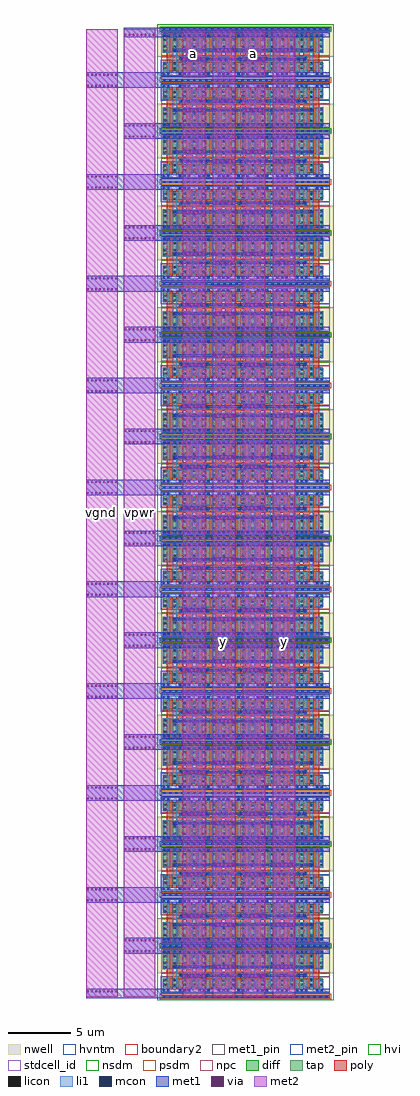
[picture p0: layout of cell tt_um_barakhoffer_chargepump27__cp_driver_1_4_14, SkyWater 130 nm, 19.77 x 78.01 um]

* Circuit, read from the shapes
.subckt tt_um_barakhoffer_chargepump27__cp_driver_1_4_14 a vgnd vpwr y
XM1 y tt_um_barakhoffer_chargepump27__sky130_fd_sc_hvl__inv_16_0/a vgnd vgnd sky130_fd_pr__nfet_g5v0d10v5 w=0.75 l=0.5 m=224
XM2 tt_um_barakhoffer_chargepump27__sky130_fd_sc_hvl__inv_16_0/a tt_um_barakhoffer_chargepump27__sky130_fd_sc_hvl__inv_16_16/a vgnd vgnd sky130_fd_pr__nfet_g5v0d10v5 w=0.75 l=0.5 m=64
XM3 tt_um_barakhoffer_chargepump27__sky130_fd_sc_hvl__inv_16_16/a a vgnd vgnd sky130_fd_pr__nfet_g5v0d10v5 w=0.75 l=0.5 m=16
XM4 y tt_um_barakhoffer_chargepump27__sky130_fd_sc_hvl__inv_16_0/a vpwr vpwr sky130_fd_pr__pfet_g5v0d10v5 w=1.5 l=0.5 m=224
XM5 tt_um_barakhoffer_chargepump27__sky130_fd_sc_hvl__inv_16_0/a tt_um_barakhoffer_chargepump27__sky130_fd_sc_hvl__inv_16_16/a vpwr vpwr sky130_fd_pr__pfet_g5v0d10v5 w=1.5 l=0.5 m=64
XM6 tt_um_barakhoffer_chargepump27__sky130_fd_sc_hvl__inv_16_16/a a vpwr vpwr sky130_fd_pr__pfet_g5v0d10v5 w=1.5 l=0.5 m=16
.ends

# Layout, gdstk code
import gdstk
lib = gdstk.Library(unit=1e-6, precision=1e-09)
def R(c, l, rs):  # rectangles x0, y0, x1, y1
    for r in rs: c.add(gdstk.rectangle(r[:2], r[2:], *l))
def A(c, l, x, y, w, h, nx, ny, dx, dy):  # array of equal rectangles
    R(c, l, [(x+i*dx, y+j*dy, x+i*dx+w, y+j*dy+h) for i in range(nx) for j in range(ny)])
def P(c, l, *ps):  # polygons
    for p in ps: c.add(gdstk.Polygon(p, *l))
nwell = (64, 20)
diff = (65, 20)
tap = (65, 44)
poly = (66, 20)
licon = (66, 44)
li1 = (67, 20)
mcon = (67, 44)
met1_pin = (68, 16)
met1 = (68, 20)
via = (68, 44)
met2_pin = (69, 16)
met2 = (69, 20)
hvi = (75, 20)
stdcell_id = (81, 4)
nsdm = (93, 44)
psdm = (94, 20)
npc = (95, 20)
hvntm = (125, 20)
boundary2 = (236, 0)

tt_um_barakhoffer_charge = lib.new_cell('tt_um_barakhoffer_chargepump27__sky130_fd_sc_hvl__inv_16')
R(tt_um_barakhoffer_charge, nwell, [(-0.33,1.885,13.77,4.485)])
R(tt_um_barakhoffer_charge, diff, [(0.16,0.705,12.895,1.455), (0.165,2.215,12.895,3.715)])
R(tt_um_barakhoffer_charge, tap, [(0,-0.085,13.44,0.085), (0,3.985,13.44,4.155)])
P(tt_um_barakhoffer_charge, poly, [(0.425,0.575),(0.425,2.005),(0.43,2.005),(0.43,3.845),(0.93,3.845),(0.93,2.005),(1.21,2.005),(1.21,3.845),(1.71,3.845),(1.71,2.005),(1.99,2.005),(1.99,3.845),(2.49,3.845),(2.49,2.005),(2.77,2.005),(2.77,3.845),(3.27,3.845),(3.27,2.005),(3.55,2.005),(3.55,3.845),(4.05,3.845),(4.05,2.005),(4.33,2.005),(4.33,3.845),(4.83,3.845),(4.83,2.005),(5.11,2.005),(5.11,3.845),(5.61,3.845),(5.61,2.005),(5.89,2.005),(5.89,3.845),(6.39,3.845),(6.39,2.005),(6.67,2.005),(6.67,3.845),(7.17,3.845),(7.17,2.005),(7.45,2.005),(7.45,3.845),(7.95,3.845),(7.95,2.005),(8.23,2.005),(8.23,3.845),(8.73,3.845),(8.73,2.005),(9.01,2.005),(9.01,3.845),(9.51,3.845),(9.51,2.005),(9.79,2.005),(9.79,3.845),(10.29,3.845),(10.29,2.005),(10.57,2.005),(10.57,3.845),(11.07,3.845),(11.07,2.005),(11.35,2.005),(11.35,3.845),(11.85,3.845),(11.85,2.005),(12.13,2.005),(12.13,3.845),(12.63,3.845),(12.63,2),(12.625,2),(12.625,0.575),(12.125,0.575),(12.125,1.565),(11.845,1.565),(11.845,0.575),(11.345,0.575),(11.345,1.565),(11.065,1.565),(11.065,0.575),(10.565,0.575),(10.565,1.565),(10.285,1.565),(10.285,0.575),(9.785,0.575),(9.785,1.565),(9.505,1.565),(9.505,0.575),(9.005,0.575),(9.005,1.565),(8.725,1.565),(8.725,0.575),(8.225,0.575),(8.225,1.565),(7.945,1.565),(7.945,0.575),(7.445,0.575),(7.445,1.565),(7.165,1.565),(7.165,0.575),(6.665,0.575),(6.665,1.565),(6.385,1.565),(6.385,0.575),(5.885,0.575),(5.885,1.565),(5.605,1.565),(5.605,0.575),(5.105,0.575),(5.105,1.565),(4.825,1.565),(4.825,0.575),(4.325,0.575),(4.325,1.565),(4.045,1.565),(4.045,0.575),(3.545,0.575),(3.545,1.565),(3.265,1.565),(3.265,0.575),(2.765,0.575),(2.765,1.565),(2.485,1.565),(2.485,0.575),(1.985,0.575),(1.985,1.565),(1.705,1.565),(1.705,0.575),(1.205,0.575),(1.205,1.565),(0.925,1.565),(0.925,0.575)])
A(tt_um_barakhoffer_charge, licon, 0.155, -0.085, 0.17, 0.17, 28, 2, 0.48, 4.07)
A(tt_um_barakhoffer_charge, licon, 0.2, 0.86, 0.17, 0.17, 9, 2, 1.56, 0.365)
A(tt_um_barakhoffer_charge, licon, 0.98, 0.875, 0.17, 0.17, 8, 2, 1.56, 0.37)
A(tt_um_barakhoffer_charge, licon, 0.985, 2.255, 0.17, 0.17, 15, 2, 0.78, 0.34)
A(tt_um_barakhoffer_charge, licon, 0.985, 3.165, 0.17, 0.17, 15, 2, 0.78, 0.34)
R(tt_um_barakhoffer_charge, licon, [(1.48,1.645,1.65,1.815), (2.045,1.645,2.215,1.815), (3.04,1.645,3.21,1.815), (3.605,1.645,3.775,1.815), (4.6,1.645,4.77,1.815), (5.165,1.645,5.335,1.815), (6.16,1.645,6.33,1.815), (6.725,1.645,6.895,1.815), (7.72,1.645,7.89,1.815), (8.285,1.645,8.455,1.815), (9.28,1.645,9.45,1.815), (9.845,1.645,10.015,1.815), (10.84,1.645,11.01,1.815), (11.405,1.645,11.575,1.815), (0.205,2.275,0.375,2.445), (12.685,2.275,12.855,2.445), (0.205,2.615,0.375,2.785), (12.685,2.615,12.855,2.785), (0.205,3.145,0.375,3.315), (12.685,3.145,12.855,3.315), (0.205,3.485,0.375,3.655), (12.685,3.485,12.855,3.655)])
A(tt_um_barakhoffer_charge, li1, 1.4, 0.375, 0.89, 1.02, 7, 1, 1.56, 0)
A(tt_um_barakhoffer_charge, li1, 0.9, 0.795, 0.33, 2.96, 8, 1, 1.56, 0)
A(tt_um_barakhoffer_charge, li1, 1.4, 1.565, 0.89, 0.33, 7, 1, 1.56, 0)
A(tt_um_barakhoffer_charge, li1, 1.4, 2.175, 0.89, 1.58, 7, 1, 1.56, 0)
R(tt_um_barakhoffer_charge, li1, [(0,-0.085,13.44,0.085), (0.095,0.375,0.63,1.475), (12.32,0.375,12.935,1.395), (0.125,2.175,0.655,3.755), (12.32,2.175,12.935,3.675), (0,3.985,13.44,4.155)])
A(tt_um_barakhoffer_charge, mcon, 1.4, 0.425, 0.17, 0.17, 3, 2, 0.36, 3.05)
A(tt_um_barakhoffer_charge, mcon, 2.96, 0.425, 0.17, 0.17, 3, 2, 0.36, 3.05)
A(tt_um_barakhoffer_charge, mcon, 4.52, 0.425, 0.17, 0.17, 3, 2, 0.36, 3.05)
A(tt_um_barakhoffer_charge, mcon, 6.08, 0.425, 0.17, 0.17, 3, 2, 0.36, 3.05)
A(tt_um_barakhoffer_charge, mcon, 7.64, 0.425, 0.17, 0.17, 3, 2, 0.36, 3.05)
A(tt_um_barakhoffer_charge, mcon, 9.2, 0.425, 0.17, 0.17, 3, 2, 0.36, 3.05)
A(tt_um_barakhoffer_charge, mcon, 10.76, 0.425, 0.17, 0.17, 3, 2, 0.36, 3.05)
A(tt_um_barakhoffer_charge, mcon, 0.985, 2.32, 0.17, 0.17, 8, 1, 1.56, 0)
R(tt_um_barakhoffer_charge, mcon, [(0.155,-0.085,0.325,0.085), (0.155,-0.085,0.325,0.085), (0.635,-0.085,0.805,0.085), (0.635,-0.085,0.805,0.085), (1.115,-0.085,1.285,0.085), (1.115,-0.085,1.285,0.085), (1.595,-0.085,1.765,0.085), (1.595,-0.085,1.765,0.085), (2.075,-0.085,2.245,0.085), (2.075,-0.085,2.245,0.085), (2.555,-0.085,2.725,0.085), (2.555,-0.085,2.725,0.085), (3.035,-0.085,3.205,0.085), (3.035,-0.085,3.205,0.085), (3.515,-0.085,3.685,0.085), (3.515,-0.085,3.685,0.085), (3.995,-0.085,4.165,0.085), (3.995,-0.085,4.165,0.085), (4.475,-0.085,4.645,0.085), (4.475,-0.085,4.645,0.085), (4.955,-0.085,5.125,0.085), (4.955,-0.085,5.125,0.085), (5.435,-0.085,5.605,0.085), (5.435,-0.085,5.605,0.085), (5.915,-0.085,6.085,0.085), (5.915,-0.085,6.085,0.085), (6.395,-0.085,6.565,0.085), (6.395,-0.085,6.565,0.085), (6.875,-0.085,7.045,0.085), (6.875,-0.085,7.045,0.085), (7.355,-0.085,7.525,0.085), (7.355,-0.085,7.525,0.085), (7.835,-0.085,8.005,0.085), (7.835,-0.085,8.005,0.085), (8.315,-0.085,8.485,0.085), (8.315,-0.085,8.485,0.085), (8.795,-0.085,8.965,0.085), (8.795,-0.085,8.965,0.085), (9.275,-0.085,9.445,0.085), (9.275,-0.085,9.445,0.085), (9.755,-0.085,9.925,0.085), (9.755,-0.085,9.925,0.085), (10.235,-0.085,10.405,0.085), (10.235,-0.085,10.405,0.085), (10.715,-0.085,10.885,0.085), (10.715,-0.085,10.885,0.085), (11.195,-0.085,11.365,0.085), (11.195,-0.085,11.365,0.085), (11.675,-0.085,11.845,0.085), (11.675,-0.085,11.845,0.085), (12.155,-0.085,12.325,0.085), (12.155,-0.085,12.325,0.085), (12.635,-0.085,12.805,0.085), (12.635,-0.085,12.805,0.085), (13.115,-0.085,13.285,0.085), (13.115,-0.085,13.285,0.085), (0.095,0.425,0.265,0.595), (0.455,0.425,0.625,0.595), (12.365,0.425,12.535,0.595), (12.725,0.425,12.895,0.595), (1.595,1.58,1.765,1.75), (1.955,1.58,2.125,1.75), (3.145,1.58,3.315,1.75), (3.505,1.58,3.675,1.75), (4.705,1.58,4.875,1.75), (5.065,1.58,5.235,1.75), (6.265,1.58,6.435,1.75), (6.625,1.58,6.795,1.75), (7.825,1.58,7.995,1.75), (8.185,1.58,8.355,1.75), (9.385,1.58,9.555,1.75), (9.745,1.58,9.915,1.75), (10.945,1.58,11.115,1.75), (11.305,1.58,11.475,1.75), (0.125,3.475,0.295,3.645), (0.485,3.475,0.655,3.645), (12.365,3.475,12.535,3.645), (12.725,3.475,12.895,3.645), (0.155,3.985,0.325,4.155), (0.155,3.985,0.325,4.155), (0.635,3.985,0.805,4.155), (0.635,3.985,0.805,4.155), (1.115,3.985,1.285,4.155), (1.115,3.985,1.285,4.155), (1.595,3.985,1.765,4.155), (1.595,3.985,1.765,4.155), (2.075,3.985,2.245,4.155), (2.075,3.985,2.245,4.155), (2.555,3.985,2.725,4.155), (2.555,3.985,2.725,4.155), (3.035,3.985,3.205,4.155), (3.035,3.985,3.205,4.155), (3.515,3.985,3.685,4.155), (3.515,3.985,3.685,4.155), (3.995,3.985,4.165,4.155), (3.995,3.985,4.165,4.155), (4.475,3.985,4.645,4.155), (4.475,3.985,4.645,4.155), (4.955,3.985,5.125,4.155), (4.955,3.985,5.125,4.155), (5.435,3.985,5.605,4.155), (5.435,3.985,5.605,4.155), (5.915,3.985,6.085,4.155), (5.915,3.985,6.085,4.155), (6.395,3.985,6.565,4.155), (6.395,3.985,6.565,4.155), (6.875,3.985,7.045,4.155), (6.875,3.985,7.045,4.155), (7.355,3.985,7.525,4.155), (7.355,3.985,7.525,4.155), (7.835,3.985,8.005,4.155), (7.835,3.985,8.005,4.155), (8.315,3.985,8.485,4.155), (8.315,3.985,8.485,4.155), (8.795,3.985,8.965,4.155), (8.795,3.985,8.965,4.155), (9.275,3.985,9.445,4.155), (9.275,3.985,9.445,4.155), (9.755,3.985,9.925,4.155), (9.755,3.985,9.925,4.155), (10.235,3.985,10.405,4.155), (10.235,3.985,10.405,4.155), (10.715,3.985,10.885,4.155), (10.715,3.985,10.885,4.155), (11.195,3.985,11.365,4.155), (11.195,3.985,11.365,4.155), (11.675,3.985,11.845,4.155), (11.675,3.985,11.845,4.155), (12.155,3.985,12.325,4.155), (12.155,3.985,12.325,4.155), (12.635,3.985,12.805,4.155), (12.635,3.985,12.805,4.155), (13.115,3.985,13.285,4.155), (13.115,3.985,13.285,4.155)])
R(tt_um_barakhoffer_charge, met1_pin, [(0,0,13.44,0.115), (0,0.255,13.44,0.625), (1.535,1.58,11.535,1.75), (0.925,2.32,12.135,2.49), (0,3.445,13.44,3.815), (0,3.955,13.44,4.07)])
A(tt_um_barakhoffer_charge, met1, 0.925, 2.29, 0.29, 0.23, 8, 1, 1.56, 0)
R(tt_um_barakhoffer_charge, met1, [(0,-0.115,13.44,0.115), (0,0,13.44,0.115), (0,0.255,13.44,0.625), (0,0.255,13.44,0.625), (1.535,1.58,11.535,1.75), (0.925,2.32,12.135,2.49), (0.925,2.32,12.135,2.49), (0,3.445,13.44,3.815), (0,3.445,13.44,3.815), (0,3.955,13.44,4.07), (0,3.955,13.44,4.185)])
P(tt_um_barakhoffer_charge, met1, [(1.535,1.55),(1.535,1.78),(2.185,1.78),(2.185,1.75),(3.085,1.75),(3.085,1.78),(3.735,1.78),(3.735,1.75),(4.645,1.75),(4.645,1.78),(5.295,1.78),(5.295,1.75),(6.205,1.75),(6.205,1.78),(6.855,1.78),(6.855,1.75),(7.765,1.75),(7.765,1.78),(8.415,1.78),(8.415,1.75),(9.325,1.75),(9.325,1.78),(9.975,1.78),(9.975,1.75),(10.885,1.75),(10.885,1.78),(11.535,1.78),(11.535,1.55),(10.885,1.55),(10.885,1.58),(9.975,1.58),(9.975,1.55),(9.325,1.55),(9.325,1.58),(8.415,1.58),(8.415,1.55),(7.765,1.55),(7.765,1.58),(6.855,1.58),(6.855,1.55),(6.205,1.55),(6.205,1.58),(5.295,1.58),(5.295,1.55),(4.645,1.55),(4.645,1.58),(3.735,1.58),(3.735,1.55),(3.085,1.55),(3.085,1.58),(2.185,1.58),(2.185,1.55)])
R(tt_um_barakhoffer_charge, hvi, [(-0.33,-0.265,13.77,4.485)])
R(tt_um_barakhoffer_charge, stdcell_id, [(0,0,13.44,4.07)])
R(tt_um_barakhoffer_charge, nsdm, [(0,0.215,13.44,1.885), (-0.13,3.855,13.57,4.285), (0,3.855,13.44,4.07)])
R(tt_um_barakhoffer_charge, psdm, [(-0.13,-0.215,13.57,0.215)])
P(tt_um_barakhoffer_charge, psdm, [(0,1.885),(0,3.855),(13.44,3.855),(13.44,1.885),(11.685,1.885),(11.685,1.925),(10.73,1.925),(10.73,1.885),(10.125,1.885),(10.125,1.925),(9.17,1.925),(9.17,1.885),(8.565,1.885),(8.565,1.925),(7.61,1.925),(7.61,1.885),(7.005,1.885),(7.005,1.925),(6.05,1.925),(6.05,1.885),(5.445,1.885),(5.445,1.925),(4.49,1.925),(4.49,1.885),(3.885,1.885),(3.885,1.925),(2.93,1.925),(2.93,1.885),(2.325,1.885),(2.325,1.925),(1.37,1.925),(1.37,1.885)])
R(tt_um_barakhoffer_charge, npc, [(0,1.545,13.44,1.97)])
R(tt_um_barakhoffer_charge, hvntm, [(-0.035,0.35,13.475,1.64)])
R(tt_um_barakhoffer_charge, boundary2, [(0,0,13.44,4.07)])
tt_um_barakhoffer_charge.add(gdstk.Label('vgnd', (6.72,0.44), layer=68, texttype=5))
tt_um_barakhoffer_charge.add(gdstk.Label('vpb', (6.72,4.012), layer=68, texttype=5))
tt_um_barakhoffer_charge.add(gdstk.Label('vnb', (6.72,0.057), layer=68, texttype=5))
tt_um_barakhoffer_charge.add(gdstk.Label('vpwr', (6.72,3.63), layer=68, texttype=5))
tt_um_barakhoffer_charge.add(gdstk.Label('y', (6.53,2.405), layer=68, texttype=5))
tt_um_barakhoffer_charge.add(gdstk.Label('a', (6.535,1.665), layer=68, texttype=5))
tt_um_barakhoffer_charge.add(gdstk.Label('inv_16', (0,0), layer=83, texttype=44))

c_tt_um_barakhoffer_charge = lib.new_cell('tt_um_barakhoffer_chargepump27__cp_driver_1_4_14')
R(c_tt_um_barakhoffer_charge, met1, [(0,-0.115,6,0.625), (0,0.28,2.5,0.6), (7.7,1.505,9.5,1.825), (12.5,1.505,14.3,1.825), (7.8,1.535,9.4,1.795), (12.6,1.535,14.2,1.795), (10.1,2.245,11.9,2.565), (14.9,2.245,16.7,2.565), (10.2,2.275,11.8,2.535), (15,2.275,16.6,2.535), (3,3.445,6,4.185), (3,3.47,5.5,3.79), (3,3.955,6,4.695), (3,4.35,5.5,4.67), (10.1,5.575,11.9,5.895), (14.9,5.575,16.7,5.895), (10.2,5.605,11.8,5.865), (15,5.605,16.6,5.865), (7.7,6.315,9.5,6.635), (12.5,6.315,14.3,6.635), (7.8,6.345,9.4,6.605), (12.6,6.345,14.2,6.605), (0,7.515,6,8.255), (0,7.54,2.5,7.86), (0,8.025,6,8.765), (0,8.42,2.5,8.74), (7.7,9.645,9.5,9.965), (12.5,9.645,14.3,9.965), (7.8,9.675,9.4,9.935), (12.6,9.675,14.2,9.935), (10.1,10.385,11.9,10.705), (14.9,10.385,16.7,10.705), (10.2,10.415,11.8,10.675), (15,10.415,16.6,10.675), (3,11.585,6,12.325), (3,11.61,5.5,11.93), (3,12.095,6,12.835), (3,12.49,5.5,12.81), (10.1,13.715,11.9,14.035), (14.9,13.715,16.7,14.035), (10.2,13.745,11.8,14.005), (15,13.745,16.6,14.005), (7.7,14.455,9.5,14.775), (12.5,14.455,14.3,14.775), (7.8,14.485,9.4,14.745), (12.6,14.485,14.2,14.745), (0,15.655,6,16.395), (0,15.68,2.5,16), (0,16.165,6,16.905), (0,16.56,2.5,16.88), (7.7,17.785,9.5,18.105), (12.5,17.785,14.3,18.105), (7.8,17.815,9.4,18.075), (12.6,17.815,14.2,18.075), (10.1,18.525,11.9,18.845), (14.9,18.525,16.7,18.845), (10.2,18.555,11.8,18.815), (15,18.555,16.6,18.815), (3,19.725,6,20.465), (3,19.75,5.5,20.07), (3,20.235,6,20.975), (3,20.63,5.5,20.95), (10.1,21.855,11.9,22.175), (14.9,21.855,16.7,22.175), (10.2,21.885,11.8,22.145), (15,21.885,16.6,22.145), (7.7,22.595,9.5,22.915), (12.5,22.595,14.3,22.915), (7.8,22.625,9.4,22.885), (12.6,22.625,14.2,22.885), (0,23.795,6,24.535), (0,23.82,2.5,24.14), (0,24.305,6,25.045), (0,24.7,2.5,25.02), (7.7,25.925,9.5,26.245), (12.5,25.925,14.3,26.245), (7.8,25.955,9.4,26.215), (12.6,25.955,14.2,26.215), (10.1,26.665,11.9,26.985), (14.9,26.665,16.7,26.985), (10.2,26.695,11.8,26.955), (15,26.695,16.6,26.955), (3,27.865,6,28.605), (3,27.89,5.5,28.21), (3,28.375,6,29.115), (3,28.77,5.5,29.09), (10.1,29.995,11.9,30.315), (14.9,29.995,16.7,30.315), (10.2,30.025,11.8,30.285), (15,30.025,16.6,30.285), (7.7,30.735,9.5,31.055), (12.5,30.735,14.3,31.055), (7.8,30.765,9.4,31.025), (12.6,30.765,14.2,31.025), (0,31.935,6,32.675), (0,31.96,2.5,32.28), (0,32.445,6,33.185), (0,32.84,2.5,33.16), (7.7,34.065,9.5,34.385), (12.5,34.065,14.3,34.385), (7.8,34.095,9.4,34.355), (12.6,34.095,14.2,34.355), (10.1,34.805,11.9,35.125), (14.9,34.805,16.7,35.125), (10.2,34.835,11.8,35.095), (15,34.835,16.6,35.095), (3,36.005,6,36.745), (3,36.03,5.5,36.35), (3,36.515,6,37.255), (3,36.91,5.5,37.23), (10.1,38.135,11.9,38.455), (14.9,38.135,16.7,38.455), (10.2,38.165,11.8,38.425), (15,38.165,16.6,38.425), (7.7,38.875,9.5,39.195), (12.5,38.875,14.3,39.195), (7.8,38.905,9.4,39.165), (12.6,38.905,14.2,39.165), (0,40.075,6,40.815), (0,40.1,2.5,40.42), (0,40.585,6,41.325), (0,40.98,2.5,41.3), (7.7,42.205,9.5,42.525), (12.5,42.205,14.3,42.525), (7.8,42.235,9.4,42.495), (12.6,42.235,14.2,42.495), (10.1,42.945,11.9,43.265), (14.9,42.945,16.7,43.265), (10.2,42.975,11.8,43.235), (15,42.975,16.6,43.235), (3,44.145,6,44.885), (3,44.17,5.5,44.49), (3,44.655,6,45.395), (3,45.05,5.5,45.37), (10.1,46.275,11.9,46.595), (14.9,46.275,16.7,46.595), (10.2,46.305,11.8,46.565), (15,46.305,16.6,46.565), (7.7,47.015,9.5,47.335), (12.5,47.015,14.3,47.335), (7.8,47.045,9.4,47.305), (12.6,47.045,14.2,47.305), (0,48.215,6,48.955), (0,48.24,2.5,48.56), (0,48.725,6,49.465), (0,49.12,2.5,49.44), (7.7,50.345,9.5,50.665), (12.5,50.345,14.3,50.665), (7.8,50.375,9.4,50.635), (12.6,50.375,14.2,50.635), (10.1,51.085,11.9,51.405), (14.9,51.085,16.7,51.405), (10.2,51.115,11.8,51.375), (15,51.115,16.6,51.375), (3,52.285,6,53.025), (3,52.31,5.5,52.63), (3,52.795,6,53.535), (3,53.19,5.5,53.51), (10.1,54.415,11.9,54.735), (14.9,54.415,16.7,54.735), (10.2,54.445,11.8,54.705), (15,54.445,16.6,54.705), (7.7,55.155,9.5,55.475), (12.5,55.155,14.3,55.475), (7.8,55.185,9.4,55.445), (12.6,55.185,14.2,55.445), (0,56.355,6,57.095), (0,56.38,2.5,56.7), (0,56.865,6,57.605), (0,57.26,2.5,57.58), (10.1,58.485,11.9,58.805), (14.9,58.485,16.7,58.805), (10.2,58.515,11.8,58.775), (15,58.515,16.6,58.775), (7.7,59.225,9.5,59.545), (12.5,59.225,14.3,59.545), (7.8,59.255,9.4,59.515), (12.6,59.255,14.2,59.515), (3,60.425,6,61.165), (3,60.45,5.5,60.77), (3,60.935,6,61.675), (3,61.33,5.5,61.65), (7.7,62.555,9.5,62.875), (12.5,62.555,14.3,62.875), (7.8,62.585,9.4,62.845), (12.6,62.585,14.2,62.845), (10.1,63.295,11.9,63.615), (14.9,63.295,16.7,63.615), (10.2,63.325,11.8,63.585), (15,63.325,16.6,63.585), (0,64.495,6,65.235), (0,64.52,2.5,64.84), (0,65.005,6,65.745), (0,65.4,2.5,65.72), (10.1,66.625,11.9,66.945), (14.9,66.625,16.7,66.945), (10.2,66.655,11.8,66.915), (15,66.655,16.6,66.915), (7.7,67.365,9.5,67.685), (12.5,67.365,14.3,67.685), (7.8,67.395,9.4,67.655), (12.6,67.395,14.2,67.655), (3,68.565,6,69.305), (3,68.59,5.5,68.91), (3,69.075,6,69.815), (3,69.47,5.5,69.79), (7.7,70.695,9.5,71.015), (12.5,70.695,14.3,71.015), (7.8,70.725,9.4,70.985), (12.6,70.725,14.2,70.985), (10.1,71.435,11.9,71.755), (14.9,71.435,16.7,71.755), (10.2,71.465,11.8,71.725), (15,71.465,16.6,71.725), (0,72.635,6,73.375), (0,72.66,2.5,72.98), (0,73.145,6,73.885), (0,73.54,2.5,73.86), (7.7,74.765,9.5,75.085), (12.5,74.765,14.3,75.085), (7.8,74.795,9.4,75.055), (12.6,74.795,14.2,75.055), (10.1,75.505,11.9,75.825), (14.9,75.505,16.7,75.825), (10.2,75.535,11.8,75.795), (15,75.535,16.6,75.795), (3,76.705,6,77.445), (3,76.73,5.5,77.05)])
A(c_tt_um_barakhoffer_charge, via, 0.055, 0.365, 0.15, 0.15, 8, 2, 0.32, 7.26)
A(c_tt_um_barakhoffer_charge, via, 7.885, 1.59, 0.15, 0.15, 5, 2, 0.32, 4.81)
A(c_tt_um_barakhoffer_charge, via, 12.685, 1.59, 0.15, 0.15, 5, 2, 0.32, 4.81)
A(c_tt_um_barakhoffer_charge, via, 10.285, 2.33, 0.15, 0.15, 5, 2, 0.32, 3.33)
A(c_tt_um_barakhoffer_charge, via, 15.085, 2.33, 0.15, 0.15, 5, 2, 0.32, 3.33)
A(c_tt_um_barakhoffer_charge, via, 3.055, 3.555, 0.15, 0.15, 8, 2, 0.32, 0.88)
A(c_tt_um_barakhoffer_charge, via, 0.055, 8.505, 0.15, 0.15, 8, 2, 0.32, 7.26)
A(c_tt_um_barakhoffer_charge, via, 7.885, 9.73, 0.15, 0.15, 5, 2, 0.32, 4.81)
A(c_tt_um_barakhoffer_charge, via, 12.685, 9.73, 0.15, 0.15, 5, 2, 0.32, 4.81)
A(c_tt_um_barakhoffer_charge, via, 10.285, 10.47, 0.15, 0.15, 5, 2, 0.32, 3.33)
A(c_tt_um_barakhoffer_charge, via, 15.085, 10.47, 0.15, 0.15, 5, 2, 0.32, 3.33)
A(c_tt_um_barakhoffer_charge, via, 3.055, 11.695, 0.15, 0.15, 8, 2, 0.32, 0.88)
A(c_tt_um_barakhoffer_charge, via, 0.055, 16.645, 0.15, 0.15, 8, 2, 0.32, 7.26)
A(c_tt_um_barakhoffer_charge, via, 7.885, 17.87, 0.15, 0.15, 5, 2, 0.32, 4.81)
A(c_tt_um_barakhoffer_charge, via, 12.685, 17.87, 0.15, 0.15, 5, 2, 0.32, 4.81)
A(c_tt_um_barakhoffer_charge, via, 10.285, 18.61, 0.15, 0.15, 5, 2, 0.32, 3.33)
A(c_tt_um_barakhoffer_charge, via, 15.085, 18.61, 0.15, 0.15, 5, 2, 0.32, 3.33)
A(c_tt_um_barakhoffer_charge, via, 3.055, 19.835, 0.15, 0.15, 8, 2, 0.32, 0.88)
A(c_tt_um_barakhoffer_charge, via, 0.055, 24.785, 0.15, 0.15, 8, 2, 0.32, 7.26)
A(c_tt_um_barakhoffer_charge, via, 7.885, 26.01, 0.15, 0.15, 5, 2, 0.32, 4.81)
A(c_tt_um_barakhoffer_charge, via, 12.685, 26.01, 0.15, 0.15, 5, 2, 0.32, 4.81)
A(c_tt_um_barakhoffer_charge, via, 10.285, 26.75, 0.15, 0.15, 5, 2, 0.32, 3.33)
A(c_tt_um_barakhoffer_charge, via, 15.085, 26.75, 0.15, 0.15, 5, 2, 0.32, 3.33)
A(c_tt_um_barakhoffer_charge, via, 3.055, 27.975, 0.15, 0.15, 8, 2, 0.32, 0.88)
A(c_tt_um_barakhoffer_charge, via, 0.055, 32.925, 0.15, 0.15, 8, 2, 0.32, 7.26)
A(c_tt_um_barakhoffer_charge, via, 7.885, 34.15, 0.15, 0.15, 5, 2, 0.32, 4.81)
A(c_tt_um_barakhoffer_charge, via, 12.685, 34.15, 0.15, 0.15, 5, 2, 0.32, 4.81)
A(c_tt_um_barakhoffer_charge, via, 10.285, 34.89, 0.15, 0.15, 5, 2, 0.32, 3.33)
A(c_tt_um_barakhoffer_charge, via, 15.085, 34.89, 0.15, 0.15, 5, 2, 0.32, 3.33)
A(c_tt_um_barakhoffer_charge, via, 3.055, 36.115, 0.15, 0.15, 8, 2, 0.32, 0.88)
A(c_tt_um_barakhoffer_charge, via, 0.055, 41.065, 0.15, 0.15, 8, 2, 0.32, 7.26)
A(c_tt_um_barakhoffer_charge, via, 7.885, 42.29, 0.15, 0.15, 5, 2, 0.32, 4.81)
A(c_tt_um_barakhoffer_charge, via, 12.685, 42.29, 0.15, 0.15, 5, 2, 0.32, 4.81)
A(c_tt_um_barakhoffer_charge, via, 10.285, 43.03, 0.15, 0.15, 5, 2, 0.32, 3.33)
A(c_tt_um_barakhoffer_charge, via, 15.085, 43.03, 0.15, 0.15, 5, 2, 0.32, 3.33)
A(c_tt_um_barakhoffer_charge, via, 3.055, 44.255, 0.15, 0.15, 8, 2, 0.32, 0.88)
A(c_tt_um_barakhoffer_charge, via, 0.055, 49.205, 0.15, 0.15, 8, 2, 0.32, 7.26)
A(c_tt_um_barakhoffer_charge, via, 7.885, 50.43, 0.15, 0.15, 5, 2, 0.32, 4.81)
A(c_tt_um_barakhoffer_charge, via, 12.685, 50.43, 0.15, 0.15, 5, 2, 0.32, 4.81)
A(c_tt_um_barakhoffer_charge, via, 10.285, 51.17, 0.15, 0.15, 5, 2, 0.32, 3.33)
A(c_tt_um_barakhoffer_charge, via, 15.085, 51.17, 0.15, 0.15, 5, 2, 0.32, 3.33)
A(c_tt_um_barakhoffer_charge, via, 3.055, 52.395, 0.15, 0.15, 8, 2, 0.32, 0.88)
A(c_tt_um_barakhoffer_charge, via, 0.055, 57.345, 0.15, 0.15, 8, 2, 0.32, 7.26)
A(c_tt_um_barakhoffer_charge, via, 10.285, 58.57, 0.15, 0.15, 5, 2, 0.32, 4.81)
A(c_tt_um_barakhoffer_charge, via, 15.085, 58.57, 0.15, 0.15, 5, 2, 0.32, 4.81)
A(c_tt_um_barakhoffer_charge, via, 7.885, 59.31, 0.15, 0.15, 5, 2, 0.32, 3.33)
A(c_tt_um_barakhoffer_charge, via, 12.685, 59.31, 0.15, 0.15, 5, 2, 0.32, 3.33)
A(c_tt_um_barakhoffer_charge, via, 3.055, 60.535, 0.15, 0.15, 8, 2, 0.32, 0.88)
A(c_tt_um_barakhoffer_charge, via, 0.055, 65.485, 0.15, 0.15, 8, 2, 0.32, 7.26)
A(c_tt_um_barakhoffer_charge, via, 10.285, 66.71, 0.15, 0.15, 5, 2, 0.32, 4.81)
A(c_tt_um_barakhoffer_charge, via, 15.085, 66.71, 0.15, 0.15, 5, 2, 0.32, 4.81)
A(c_tt_um_barakhoffer_charge, via, 7.885, 67.45, 0.15, 0.15, 5, 2, 0.32, 3.33)
A(c_tt_um_barakhoffer_charge, via, 12.685, 67.45, 0.15, 0.15, 5, 2, 0.32, 3.33)
A(c_tt_um_barakhoffer_charge, via, 3.055, 68.675, 0.15, 0.15, 8, 2, 0.32, 0.88)
A(c_tt_um_barakhoffer_charge, via, 0.055, 73.625, 0.15, 0.15, 8, 1, 0.32, 0)
A(c_tt_um_barakhoffer_charge, via, 7.885, 74.85, 0.15, 0.15, 5, 1, 0.32, 0)
A(c_tt_um_barakhoffer_charge, via, 12.685, 74.85, 0.15, 0.15, 5, 1, 0.32, 0)
A(c_tt_um_barakhoffer_charge, via, 10.285, 75.59, 0.15, 0.15, 5, 1, 0.32, 0)
A(c_tt_um_barakhoffer_charge, via, 15.085, 75.59, 0.15, 0.15, 5, 1, 0.32, 0)
A(c_tt_um_barakhoffer_charge, via, 3.055, 76.815, 0.15, 0.15, 8, 1, 0.32, 0)
R(c_tt_um_barakhoffer_charge, met2_pin, [(0,0,2.5,77.33), (3,0,5.5,77.33), (10.1,0,11.9,56.78), (14.9,0,16.7,56.78), (7.7,73.46,9.5,77.33), (12.5,73.46,14.3,77.33)])
R(c_tt_um_barakhoffer_charge, met2, [(0,0,2.5,77.33), (0,0,2.5,77.33), (3,0,5.5,77.33), (3,0,5.5,77.33), (7.7,0,9.5,73.06), (10.1,0,11.9,56.78), (10.1,0,11.9,56.78), (12.5,0,14.3,73.06), (14.9,0,16.7,56.78), (14.9,0,16.7,56.78), (0,0.28,2.5,0.6), (7.8,1.535,9.4,1.795), (12.6,1.535,14.2,1.795), (10.2,2.275,11.8,2.535), (15,2.275,16.6,2.535), (3,3.47,5.5,3.79), (3,4.35,5.5,4.67), (10.2,5.605,11.8,5.865), (15,5.605,16.6,5.865), (7.8,6.345,9.4,6.605), (12.6,6.345,14.2,6.605), (0,7.54,2.5,7.86), (0,8.42,2.5,8.74), (7.8,9.675,9.4,9.935), (12.6,9.675,14.2,9.935), (10.2,10.415,11.8,10.675), (15,10.415,16.6,10.675), (3,11.61,5.5,11.93), (3,12.49,5.5,12.81), (10.2,13.745,11.8,14.005), (15,13.745,16.6,14.005), (7.8,14.485,9.4,14.745), (12.6,14.485,14.2,14.745), (0,15.68,2.5,16), (0,16.56,2.5,16.88), (7.8,17.815,9.4,18.075), (12.6,17.815,14.2,18.075), (10.2,18.555,11.8,18.815), (15,18.555,16.6,18.815), (3,19.75,5.5,20.07), (3,20.63,5.5,20.95), (10.2,21.885,11.8,22.145), (15,21.885,16.6,22.145), (7.8,22.625,9.4,22.885), (12.6,22.625,14.2,22.885), (0,23.82,2.5,24.14), (0,24.7,2.5,25.02), (7.8,25.955,9.4,26.215), (12.6,25.955,14.2,26.215), (10.2,26.695,11.8,26.955), (15,26.695,16.6,26.955), (3,27.89,5.5,28.21), (3,28.77,5.5,29.09), (10.2,30.025,11.8,30.285), (15,30.025,16.6,30.285), (7.8,30.765,9.4,31.025), (12.6,30.765,14.2,31.025), (0,31.96,2.5,32.28), (0,32.84,2.5,33.16), (7.8,34.095,9.4,34.355), (12.6,34.095,14.2,34.355), (10.2,34.835,11.8,35.095), (15,34.835,16.6,35.095), (3,36.03,5.5,36.35), (3,36.91,5.5,37.23), (10.2,38.165,11.8,38.425), (15,38.165,16.6,38.425), (7.8,38.905,9.4,39.165), (12.6,38.905,14.2,39.165), (0,40.1,2.5,40.42), (0,40.98,2.5,41.3), (7.8,42.235,9.4,42.495), (12.6,42.235,14.2,42.495), (10.2,42.975,11.8,43.235), (15,42.975,16.6,43.235), (3,44.17,5.5,44.49), (3,45.05,5.5,45.37), (10.2,46.305,11.8,46.565), (15,46.305,16.6,46.565), (7.8,47.045,9.4,47.305), (12.6,47.045,14.2,47.305), (0,48.24,2.5,48.56), (0,49.12,2.5,49.44), (7.8,50.375,9.4,50.635), (12.6,50.375,14.2,50.635), (10.2,51.115,11.8,51.375), (15,51.115,16.6,51.375), (3,52.31,5.5,52.63), (3,53.19,5.5,53.51), (10.2,54.445,11.8,54.705), (15,54.445,16.6,54.705), (7.8,55.185,9.4,55.445), (12.6,55.185,14.2,55.445), (0,56.38,2.5,56.7), (10.1,57.18,11.9,77.33), (14.9,57.18,16.7,77.33), (0,57.26,2.5,57.58), (10.2,58.515,11.8,58.775), (15,58.515,16.6,58.775), (7.8,59.255,9.4,59.515), (12.6,59.255,14.2,59.515), (3,60.45,5.5,60.77), (3,61.33,5.5,61.65), (7.8,62.585,9.4,62.845), (12.6,62.585,14.2,62.845), (10.2,63.325,11.8,63.585), (15,63.325,16.6,63.585), (0,64.52,2.5,64.84), (0,65.4,2.5,65.72), (10.2,66.655,11.8,66.915), (15,66.655,16.6,66.915), (7.8,67.395,9.4,67.655), (12.6,67.395,14.2,67.655), (3,68.59,5.5,68.91), (3,69.47,5.5,69.79), (7.8,70.725,9.4,70.985), (12.6,70.725,14.2,70.985), (10.2,71.465,11.8,71.725), (15,71.465,16.6,71.725), (0,72.66,2.5,72.98), (7.7,73.46,9.5,77.33), (7.7,73.46,9.5,77.33), (12.5,73.46,14.3,77.33), (12.5,73.46,14.3,77.33), (0,73.54,2.5,73.86), (7.8,74.795,9.4,75.055), (12.6,74.795,14.2,75.055), (10.2,75.535,11.8,75.795), (15,75.535,16.6,75.795), (3,76.73,5.5,77.05)])
c_tt_um_barakhoffer_charge.add(gdstk.Reference(tt_um_barakhoffer_charge, (6,8.14), x_reflection=True))
c_tt_um_barakhoffer_charge.add(gdstk.Reference(tt_um_barakhoffer_charge, (6,16.28), x_reflection=True))
c_tt_um_barakhoffer_charge.add(gdstk.Reference(tt_um_barakhoffer_charge, (6,24.42), x_reflection=True))
c_tt_um_barakhoffer_charge.add(gdstk.Reference(tt_um_barakhoffer_charge, (6,32.56), x_reflection=True))
c_tt_um_barakhoffer_charge.add(gdstk.Reference(tt_um_barakhoffer_charge, (6,40.7), x_reflection=True))
c_tt_um_barakhoffer_charge.add(gdstk.Reference(tt_um_barakhoffer_charge, (6,48.84), x_reflection=True))
c_tt_um_barakhoffer_charge.add(gdstk.Reference(tt_um_barakhoffer_charge, (6,56.98), x_reflection=True))
c_tt_um_barakhoffer_charge.add(gdstk.Reference(tt_um_barakhoffer_charge, (6,65.12), x_reflection=True))
c_tt_um_barakhoffer_charge.add(gdstk.Reference(tt_um_barakhoffer_charge, (6,73.26), x_reflection=True))
c_tt_um_barakhoffer_charge.add(gdstk.Reference(tt_um_barakhoffer_charge, (6,0)))
c_tt_um_barakhoffer_charge.add(gdstk.Reference(tt_um_barakhoffer_charge, (6,8.14)))
c_tt_um_barakhoffer_charge.add(gdstk.Reference(tt_um_barakhoffer_charge, (6,16.28)))
c_tt_um_barakhoffer_charge.add(gdstk.Reference(tt_um_barakhoffer_charge, (6,24.42)))
c_tt_um_barakhoffer_charge.add(gdstk.Reference(tt_um_barakhoffer_charge, (6,32.56)))
c_tt_um_barakhoffer_charge.add(gdstk.Reference(tt_um_barakhoffer_charge, (6,40.7)))
c_tt_um_barakhoffer_charge.add(gdstk.Reference(tt_um_barakhoffer_charge, (6,48.84)))
c_tt_um_barakhoffer_charge.add(gdstk.Reference(tt_um_barakhoffer_charge, (6,56.98)))
c_tt_um_barakhoffer_charge.add(gdstk.Reference(tt_um_barakhoffer_charge, (6,65.12)))
c_tt_um_barakhoffer_charge.add(gdstk.Reference(tt_um_barakhoffer_charge, (6,73.26)))
c_tt_um_barakhoffer_charge.add(gdstk.Label('a', (8.6,75.395), layer=69, texttype=5))
c_tt_um_barakhoffer_charge.add(gdstk.Label('a', (13.4,75.395), layer=69, texttype=5))
c_tt_um_barakhoffer_charge.add(gdstk.Label('y', (11,28.39), layer=69, texttype=5))
c_tt_um_barakhoffer_charge.add(gdstk.Label('y', (15.8,28.39), layer=69, texttype=5))
c_tt_um_barakhoffer_charge.add(gdstk.Label('vpwr', (4.25,38.665), layer=69, texttype=5))
c_tt_um_barakhoffer_charge.add(gdstk.Label('vgnd', (1.25,38.665), layer=69, texttype=5))

lib.write_gds('tt_um_barakhoffer_chargepump27__cp_driver_1_4_14.gds')
